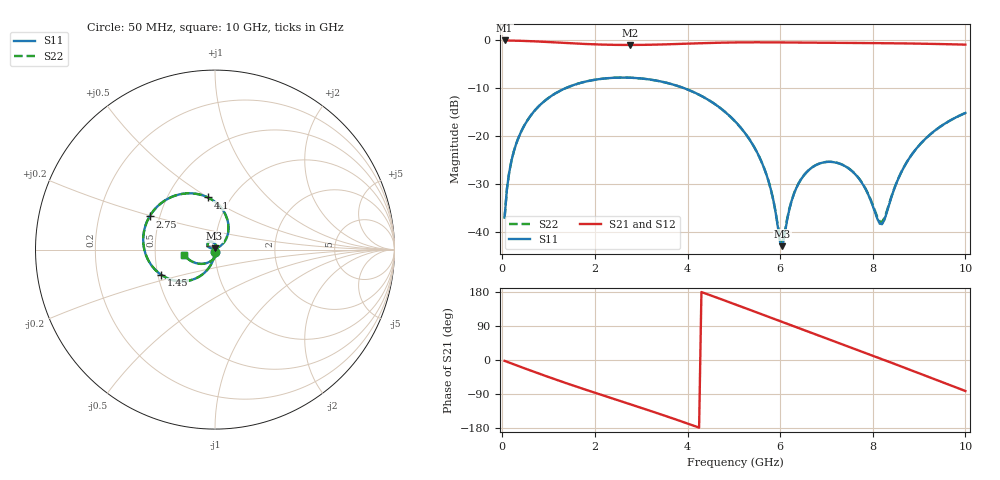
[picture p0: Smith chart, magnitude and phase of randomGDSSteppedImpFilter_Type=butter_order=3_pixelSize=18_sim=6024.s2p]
! freq	dB(S11)	phase(S11)	dB(S12)	phase(S12)
!  dB(S21)	phase(S21)	dB(S22)	phase(S22)
!S-par simulation data
#  GHz  S  DB  R 50
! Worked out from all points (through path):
!   200 points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, 50 MHz to 10 GHz, reference 50 ohm
!   highest |S21| = 0.00 dB at 50 MHz (marker M1); lowest = -0.9 dB at 2.75 GHz (marker M2)
!   group delay of S21, straight-line fit = 122 ps
!   lowest |S11| = -42.9 dB at 6.05 GHz (marker M3), VSWR 1.01, Z = 49.7 + j0.658 ohm
!   |S11| at or under -10 dB: start of sweep to 1.358 GHz; 3.936 GHz to end of sweep
!   |S22| runs from -42.3 to -7.7 dB; largest |S21 - S12| = 0
!   S11 on the Smith chart (normalised r, x): 50 MHz: 1.00, -0.03; 1.45 GHz: 0.52, -0.17; 2.75 GHz: 0.44, +0.19; 4.1 GHz: 0.78, +0.50; 10 GHz: 0.70, -0.04
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0.05  -36.99 -92.3  -0.00 -2.3  -0.00 -2.3  -36.99 -92.3
0.15  -27.48 -97.2  -0.02 -6.9  -0.02 -6.9  -27.48 -97.2
0.4  -19.17 -109.0  -0.08 -18.3  -0.08 -18.3  -19.17 -109.0
0.85  -13.16 -128.9  -0.26 -38.4  -0.26 -38.4  -13.16 -128.9
1.45  -9.63 -154.7  -0.58 -64.0  -0.58 -64.0  -9.63 -154.7
1.75  -8.71 -167.0  -0.72 -76.3  -0.72 -76.3  -8.71 -167.0
2.75  -7.77 153.1  -0.94 -116.2  -0.94 -116.2  -7.77 153.2
3.4  -8.52 127.0  -0.85 -142.5  -0.85 -142.5  -8.52 127.1
4.1  -10.65 97.8  -0.64 -172.0  -0.64 -172.0  -10.65 97.9
5.05  -17.12 57.1  -0.41 145.8  -0.41 145.8  -17.12 57.3
5.65  -26.56 35.3  -0.39 118.5  -0.39 118.5  -26.55 35.9
5.8  -31.15 34.4  -0.40 111.7  -0.40 111.7  -31.11 35.4
6.05  -42.93 111.9  -0.42 100.3  -0.42 100.3  -42.29 111.0
6.3  -31.96 161.3  -0.44 89.0  -0.44 89.0  -31.90 160.0
6.7  -26.44 150.1  -0.48 70.8  -0.48 70.8  -26.42 149.4
7.55  -27.26 107.5  -0.53 32.2  -0.53 32.2  -27.22 106.6
7.85  -31.13 83.7  -0.55 18.4  -0.55 18.4  -31.03 82.4
8.15  -38.24 17.1  -0.57 4.5  -0.57 4.5  -37.77 16.5
8.35  -34.34 -55.7  -0.58 -4.7  -0.58 -4.7  -34.16 -54.1
8.6  -27.82 -89.3  -0.61 -16.4  -0.61 -16.4  -27.79 -88.4
8.95  -22.47 -114.2  -0.66 -32.7  -0.66 -32.7  -22.46 -113.8
10  -15.14 -170.5  -0.87 -81.8  -0.87 -81.8  -15.14 -170.4
